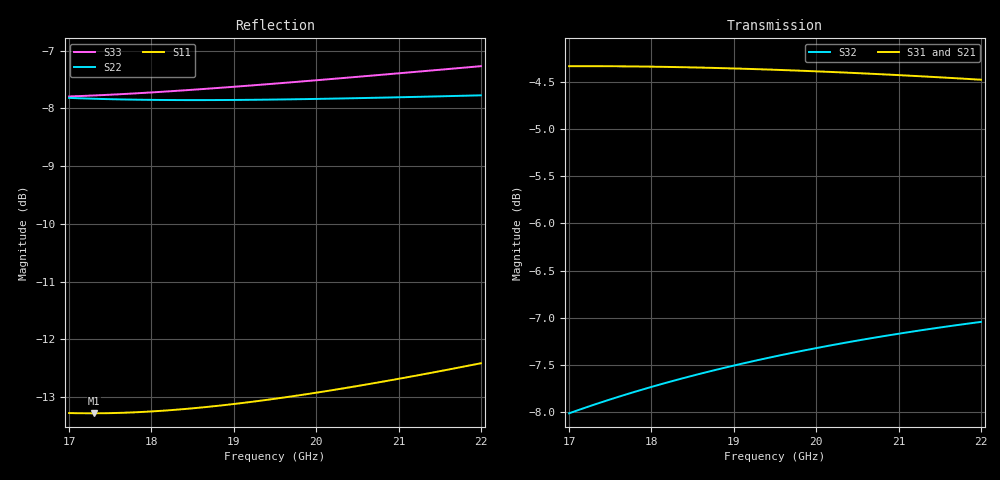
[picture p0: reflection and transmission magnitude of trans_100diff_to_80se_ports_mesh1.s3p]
#  GHZ S DB R 50.0
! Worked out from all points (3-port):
!   51 points, 17 GHz to 22 GHz, reference 50 ohm
!   strongest paths, dB at 17 GHz, 18.2 GHz, 19.5 GHz, 20.8 GHz, 22 GHz:
!     S31: -4.3, -4.3, -4.4, -4.4, -4.5
!     S21: -4.5, -4.4, -4.4, -4.4, -4.4
!     S32: -8.0, -7.7, -7.4, -7.2, -7.0
!   lowest |S11| = -13.3 dB at 17.3 GHz (marker M1), VSWR 1.55, Z = 76.4 + j7.61 ohm
!   |S11| at or under -10 dB: start of sweep to end of sweep
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17  -13.27 16.5  -4.48 -171.8  -4.33 7.6
    -4.48 -171.8  -7.82 96.2  -8.01 73.8
    -4.33 7.6  -8.01 73.8  -7.79 93.0
17.3  -13.28 12.7  -4.46 -174.0  -4.33 5.5
      -4.46 -174.0  -7.83 93.3  -7.92 71.7
      -4.33 5.5  -7.92 71.7  -7.78 90.1
17.8  -13.26 6.6  -4.44 -177.5  -4.34 2.1
      -4.44 -177.5  -7.85 88.7  -7.79 68.3
      -4.34 2.1  -7.79 68.3  -7.74 85.7
18.4  -13.20 -0.3  -4.42 178.4  -4.34 -1.8
      -4.42 178.4  -7.86 83.5  -7.64 64.4
      -4.34 -1.8  -7.64 64.4  -7.69 80.7
18.9  -13.13 -5.7  -4.41 175.1  -4.36 -5.0
      -4.41 175.1  -7.85 79.5  -7.53 61.3
      -4.36 -5.0  -7.53 61.3  -7.64 76.8
19.5  -13.03 -11.7  -4.40 171.2  -4.37 -8.7
      -4.40 171.2  -7.85 74.9  -7.41 57.8
      -4.37 -8.7  -7.41 57.8  -7.57 72.4
20.1  -12.90 -17.4  -4.39 167.4  -4.39 -12.2
      -4.39 167.4  -7.83 70.7  -7.31 54.4
      -4.39 -12.2  -7.31 54.4  -7.50 68.4
20.7  -12.76 -22.8  -4.39 163.8  -4.42 -15.7
      -4.39 163.8  -7.82 66.9  -7.21 51.1
      -4.42 -15.7  -7.21 51.1  -7.43 64.6
21.3  -12.60 -27.8  -4.38 160.2  -4.44 -19.1
      -4.38 160.2  -7.80 63.2  -7.13 48.0
      -4.44 -19.1  -7.13 48.0  -7.36 61.1
22  -12.41 -33.4  -4.39 156.1  -4.48 -22.9
    -4.39 156.1  -7.77 59.3  -7.04 44.5
    -4.48 -22.9  -7.04 44.5  -7.27 57.3
